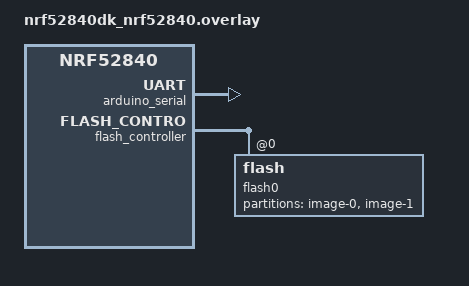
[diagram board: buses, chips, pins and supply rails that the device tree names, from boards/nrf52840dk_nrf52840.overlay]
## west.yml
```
# Copyright (c) 2025, Victor Chavez (vchavezb@protonmail.com)
# SPDX-License-Identifier: GPL-3.0-or-later
manifest:

  remotes:
    - name: zephyrproject-rtos
      url-base: https://github.com/zephyrproject-rtos

  projects:
    - name: zephyr
      remote: zephyrproject-rtos
      revision: v4.0.0
      path: zephyr
      import:
        name-allowlist:
          - cmsis
          - segger
          - nrfxlib
          - mcuboot
          - zcbor
          - mbedtls
          - tinycrypt
          - littlefs
          - hal_nordic
      clone-depth: 1
```

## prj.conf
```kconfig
# Copyright (c) 2025, Victor Chavez (vchavezb@protonmail.com)
# SPDX-License-Identifier: GPL-3.0-or-later
# Enable MCUmgr and dependencies.
CONFIG_NET_BUF=y
CONFIG_ZCBOR=y
CONFIG_CRC=y
CONFIG_MCUMGR=y
CONFIG_STREAM_FLASH=y
CONFIG_FLASH_MAP=y

# Some command handlers require a large stack.
CONFIG_SYSTEM_WORKQUEUE_STACK_SIZE=2304
CONFIG_MAIN_STACK_SIZE=2048

# Ensure an MCUboot-compatible binary is generated.
CONFIG_BOOTLOADER_MCUBOOT=y

# Enable flash operations.
CONFIG_FLASH=y

# Required by the `taskstat` command.
CONFIG_THREAD_MONITOR=y

# Support for taskstat command
CONFIG_MCUMGR_GRP_OS_TASKSTAT=y

# Enable statistics and statistic names.
CONFIG_STATS=y
CONFIG_STATS_NAMES=y

# Enable most core commands.
CONFIG_FLASH=y
CONFIG_IMG_MANAGER=y
CONFIG_MCUMGR_GRP_IMG=y
CONFIG_MCUMGR_GRP_OS=y
CONFIG_MCUMGR_GRP_STAT=y

# Enable logging
CONFIG_LOG=y
CONFIG_MCUBOOT_UTIL_LOG_LEVEL_WRN=y

# Disable debug logging
CONFIG_LOG_MAX_LEVEL=3



#############################################################
CONFIG_BT_GATT_CLIENT=y
CONFIG_BT=y
CONFIG_BT_PERIPHERAL=y

# Allow for large Bluetooth data packets.
CONFIG_BT_L2CAP_TX_MTU=498
CONFIG_BT_BUF_ACL_RX_SIZE=502
CONFIG_BT_BUF_ACL_TX_SIZE=502
CONFIG_BT_CTLR_DATA_LENGTH_MAX=251

# Enable the Bluetooth mcumgr transport (unauthenticated).
CONFIG_MCUMGR_TRANSPORT_BT=y
CONFIG_MCUMGR_TRANSPORT_BT_CONN_PARAM_CONTROL=y

# Enable the Shell mcumgr transport.
CONFIG_BASE64=y
CONFIG_CRC=y
CONFIG_SHELL=n
CONFIG_SHELL_BACKEND_SERIAL=n
CONFIG_MCUMGR_TRANSPORT_SHELL=n

# Enable the mcumgr Packet Reassembly feature over Bluetooth and its configuration dependencies.
# MCUmgr buffer size is optimized to fit one SMP packet divided into five Bluetooth Write Commands,
# transmitted with the maximum possible MTU value: 498 bytes.
CONFIG_MCUMGR_TRANSPORT_BT_REASSEMBLY=y
CONFIG_MCUMGR_TRANSPORT_NETBUF_SIZE=2475
CONFIG_MCUMGR_GRP_OS_MCUMGR_PARAMS=y
CONFIG_MCUMGR_TRANSPORT_WORKQUEUE_STACK_SIZE=5120

# Enable the LittleFS file system.
CONFIG_FILE_SYSTEM=y
CONFIG_FILE_SYSTEM_LITTLEFS=y

# Enable file system commands
CONFIG_MCUMGR_GRP_FS=y

# Enable the storage erase command.
CONFIG_MCUMGR_GRP_ZBASIC=y
CONFIG_MCUMGR_GRP_ZBASIC_STORAGE_ERASE=y

# Disable Bluetooth ping support
CONFIG_BT_CTLR_LE_PING=n

# Disable shell commands that are not needed
CONFIG_CLOCK_CONTROL_NRF_SHELL=n
CONFIG_DEVICE_SHELL=n
CONFIG_DEVMEM_SHELL=n
CONFIG_FLASH_SHELL=n


CONFIG_BT_HCI=y
CONFIG_BT_CTLR=n
CONFIG_BT_H4=y
# CONFIG_BT_EXT_ADV=n
CONFIG_BT_HCI_ACL_FLOW_CONTROL=n
CONFIG_MCUBOOT_GENERATE_UNSIGNED_IMAGE=y
CONFIG_BT_HCI_DRIVER_LOG_LEVEL_DBG=y
CONFIG_BT_AUTO_PHY_UPDATE=n
CONFIG_BT_SMP_SC_PAIR_ONLY=n
CONFIG_BT_BUF_EVT_RX_COUNT=255
CONFIG_BT_BUF_EVT_RX_SIZE=250
CONFIG_BT_BUF_ACL_RX_COUNT=250


CONFIG_MCUBOOT_IMGTOOL_SIGN_VERSION="1.0.1"
CONFIG_MCUMGR_GRP_IMG_FRUGAL_LIST=y
CONFIG_MCUBOOT_UTIL_LOG_LEVEL_INF=y
CONFIG_MCUMGR_TRANSPORT_NETBUF_USER_DATA_SIZE=128
CONFIG_BT_HCI_VS=n
CONFIG_LOG_MODE_IMMEDIATE=y
```

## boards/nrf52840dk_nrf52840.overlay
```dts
/*
 * Copyright (c) 2025, Victor Chavez (vchavezb@protonmail.com)
 * SPDX-License-Identifier: Apache-2.0
 */
/ {
	chosen {
		zephyr,bt-hci = &bt_hci_uart;
		zephyr,code-partition = &slot0_partition;
		zephyr,flash = &flash0;
	};
};

&arduino_serial {
   status = "okay";
   bt_hci_uart: bt_hci_uart {
      compatible = "zephyr,bt-hci-uart";
      status = "okay";
   };
};


&qspi{
	status="disabled";
};

&mx25r64{
	status="disabled";
};


&flash_controller {
	flash0: flash@0 {
		partitions {
			slot0_partition: partition@c000 {
				label = "image-0";
				reg = < 0xc000 0x77000 >;
			};
			slot1_partition: partition@83000 {
				label = "image-1";
				reg = < 0x83000 0x77000 >;
			};
		};
	};
};
```

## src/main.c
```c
/*
 * Copyright (c) 2012-2014 Wind River Systems, Inc.
 * Copyright (c) 2020 Prevas A/S
 *
 * SPDX-License-Identifier: Apache-2.0
 */

#include <zephyr/kernel.h>
#include <zephyr/stats/stats.h>
#include <zephyr/usb/usb_device.h>

#ifdef CONFIG_MCUMGR_GRP_FS
#include <zephyr/device.h>
#include <zephyr/fs/fs.h>
#include <zephyr/fs/littlefs.h>
#endif
#ifdef CONFIG_MCUMGR_GRP_STAT
#include <zephyr/mgmt/mcumgr/grp/stat_mgmt/stat_mgmt.h>
#endif

#define LOG_LEVEL LOG_LEVEL_DBG
#include <zephyr/logging/log.h>
LOG_MODULE_REGISTER(smp_sample);

#include "common.h"

#define STORAGE_PARTITION_LABEL	storage_partition
#define STORAGE_PARTITION_ID	FIXED_PARTITION_ID(STORAGE_PARTITION_LABEL)

/* Define an example stats group; approximates seconds since boot. */
STATS_SECT_START(smp_svr_stats)
STATS_SECT_ENTRY(ticks)
STATS_SECT_END;

/* Assign a name to the `ticks` stat. */
STATS_NAME_START(smp_svr_stats)
STATS_NAME(smp_svr_stats, ticks)
STATS_NAME_END(smp_svr_stats);

/* Define an instance of the stats group. */
STATS_SECT_DECL(smp_svr_stats) smp_svr_stats;

#ifdef CONFIG_MCUMGR_GRP_FS
FS_LITTLEFS_DECLARE_DEFAULT_CONFIG(cstorage);
static struct fs_mount_t littlefs_mnt = {
	.type = FS_LITTLEFS,
	.fs_data = &cstorage,
	.storage_dev = (void *)STORAGE_PARTITION_ID,
	.mnt_point = "/lfs1"
};
#endif

uint8_t data[]= {0x01, 0x02, 0x03, 0x04, 0x05, 0x06,0x07,0x08};
uint8_t len = 8;
int main(void)
{

	int rc = STATS_INIT_AND_REG(smp_svr_stats, STATS_SIZE_32,
				    "smp_svr_stats");

	if (rc < 0) {
		LOG_ERR("Error initializing stats system [%d]", rc);
	}



#ifdef CONFIG_MCUMGR_TRANSPORT_BT
	LOG_INF("start");
	start_smp_bluetooth_adverts();
#endif
	/* using __TIME__ ensure that a new binary will be built on every
	 * compile which is convenient when testing firmware upgrade.
	 */
	LOG_INF("build time: " __DATE__ " " __TIME__);

	/* The system work queue handles all incoming mcumgr requests.  Let the
	 * main thread idle while the mcumgr server runs.
	 */
	while (1) {
		k_sleep(K_MSEC(1000));
		STATS_INC(smp_svr_stats, ticks);
	}
	return 0;
}
```

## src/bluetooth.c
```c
/*
 * Copyright (c) 2012-2014 Wind River Systems, Inc.
 * Copyright (c) 2020 Prevas A/S
 * Copyright (c) 2025 Victor Chavez (vchavezb@protonmail.com)
 * SPDX-License-Identifier: Apache-2.0
 */

#include <zephyr/bluetooth/bluetooth.h>
#include <zephyr/bluetooth/conn.h>
#include <zephyr/bluetooth/gatt.h>
#include <zephyr/mgmt/mcumgr/transport/smp_bt.h>

#define LOG_LEVEL LOG_LEVEL_DBG
#include <zephyr/logging/log.h>
LOG_MODULE_REGISTER(smp_bt_sample);

static struct k_work advertise_work;

static const struct bt_data ad[] = {
	BT_DATA_BYTES(BT_DATA_FLAGS, (BT_LE_AD_GENERAL | BT_LE_AD_NO_BREDR)),
	BT_DATA_BYTES(BT_DATA_UUID128_ALL,
		      0x84, 0xaa, 0x60, 0x74, 0x52, 0x8a, 0x8b, 0x86,
		      0xd3, 0x4c, 0xb7, 0x1d, 0x1d, 0xdc, 0x53, 0x8d),
};

static const struct bt_data sd[] = {
	BT_DATA(BT_DATA_NAME_COMPLETE, CONFIG_BT_DEVICE_NAME, sizeof(CONFIG_BT_DEVICE_NAME) - 1),
};

static void advertise(struct k_work *work)
{
	int rc;

	rc = bt_le_adv_start(BT_LE_ADV_CONN_ONE_TIME, ad, ARRAY_SIZE(ad), sd, ARRAY_SIZE(sd));
	if (rc) {
		LOG_ERR("Advertising failed to start (rc %d)", rc);
		return;
	}

	LOG_INF("Advertising successfully started");
}

static void mtuexchange_cb(struct bt_conn *conn,
uint8_t err,
struct bt_gatt_exchange_params *params)
{
	ARG_UNUSED(conn);
	ARG_UNUSED(params);
	if (err != 0) {
		// TODO: add warning to event handler
	}
}


static struct bt_conn_info connection_info;


static void connected(struct bt_conn *conn, uint8_t err)
{
	if (err) {
		LOG_ERR("Connection failed (err 0x%02x)", err);
	} else {
		LOG_INF("Connected");
		bt_le_adv_stop();
		const int info_res = bt_conn_get_info(conn, &connection_info);
		ARG_UNUSED(info_res);
		static struct bt_gatt_exchange_params exchange_params={.func = mtuexchange_cb};
		/*<! Some BLE characteristics might require to increase MTU size
		    to maximum defined in CONFIG_BT_L2CAP_TX_MTU,CONFIG_BT_BUF_ACL_RX_SIZE
		*/
		const int mtu_req = bt_gatt_exchange_mtu(conn, &exchange_params);
		LOG_INF("MTU exchange: %d", mtu_req);

	}

	k_work_submit(&advertise_work);
}

static void disconnected(struct bt_conn *conn, uint8_t reason)
{
	LOG_INF("Disconnected (reason 0x%02x)", reason);
}

static void on_conn_recycled(void)
{
	k_work_submit(&advertise_work);
}

BT_CONN_CB_DEFINE(conn_callbacks) = {
	.connected = connected,
	.disconnected = disconnected,
	.recycled = on_conn_recycled,
};

static void bt_ready(int err)
{
	if (err != 0) {
		LOG_ERR("Bluetooth failed to initialise: %d", err);
	} else {
		k_work_submit(&advertise_work);
	}
}

void start_smp_bluetooth_adverts(void)
{
	int rc;

	k_work_init(&advertise_work, advertise);
	rc = bt_enable(bt_ready);

	if (rc != 0) {
		LOG_ERR("Bluetooth enable failed: %d", rc);
	}
}
```
